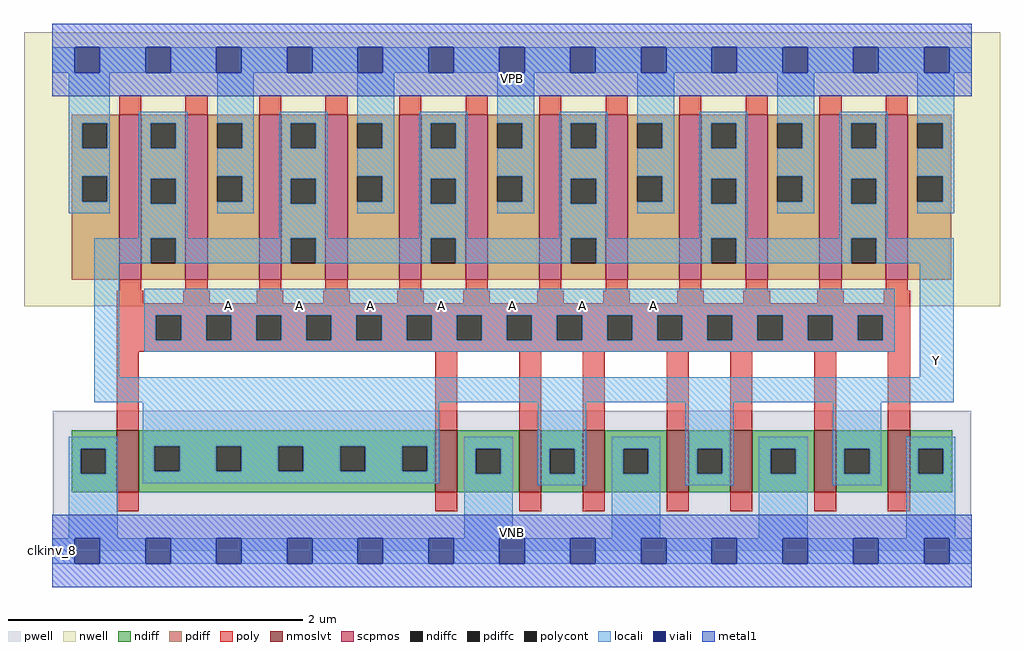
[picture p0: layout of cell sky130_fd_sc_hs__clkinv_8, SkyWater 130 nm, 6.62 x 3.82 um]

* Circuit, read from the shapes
.subckt sky130_fd_sc_hs__clkinv_8 A VGND VNB VPB VPWR Y
XM1 Y A VGND VNB sky130_fd_pr__nfet_01v8_lvt w=0.42 l=0.15 m=8
XM2 Y A VPWR VPB sky130_fd_pr__pfet_01v8 w=1.12 l=0.15 m=12
.ends

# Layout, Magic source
magic
tech sky130A
magscale 1 2
<< nwell >>
rect -38 332 1286 704
<< pwell >>
rect 1 49 1247 190
rect 0 0 1248 49
<< scpmos >>
rect 91 368 121 592
rect 181 368 211 592
rect 281 368 311 592
rect 371 368 401 592
rect 471 368 501 592
rect 561 368 591 592
rect 661 368 691 592
rect 751 368 781 592
rect 851 368 881 592
rect 941 368 971 592
rect 1041 368 1071 592
rect 1131 368 1161 592
<< nmoslvt >>
rect 88 80 118 164
rect 520 80 550 164
rect 634 80 664 164
rect 720 80 750 164
rect 834 80 864 164
rect 920 80 950 164
rect 1034 80 1064 164
rect 1134 80 1164 164
<< ndiff >>
rect 27 139 88 164
rect 27 105 39 139
rect 73 105 88 139
rect 27 80 88 105
rect 118 142 520 164
rect 118 108 139 142
rect 173 108 223 142
rect 257 108 307 142
rect 341 108 391 142
rect 425 108 475 142
rect 509 108 520 142
rect 118 80 520 108
rect 550 139 634 164
rect 550 105 575 139
rect 609 105 634 139
rect 550 80 634 105
rect 664 139 720 164
rect 664 105 675 139
rect 709 105 720 139
rect 664 80 720 105
rect 750 139 834 164
rect 750 105 775 139
rect 809 105 834 139
rect 750 80 834 105
rect 864 139 920 164
rect 864 105 875 139
rect 909 105 920 139
rect 864 80 920 105
rect 950 139 1034 164
rect 950 105 975 139
rect 1009 105 1034 139
rect 950 80 1034 105
rect 1064 139 1134 164
rect 1064 105 1075 139
rect 1109 105 1134 139
rect 1064 80 1134 105
rect 1164 139 1221 164
rect 1164 105 1175 139
rect 1209 105 1221 139
rect 1164 80 1221 105
<< pdiff >>
rect 27 580 91 592
rect 27 546 41 580
rect 75 546 91 580
rect 27 508 91 546
rect 27 474 41 508
rect 75 474 91 508
rect 27 368 91 474
rect 121 580 181 592
rect 121 546 134 580
rect 168 546 181 580
rect 121 505 181 546
rect 121 471 134 505
rect 168 471 181 505
rect 121 424 181 471
rect 121 390 134 424
rect 168 390 181 424
rect 121 368 181 390
rect 211 580 281 592
rect 211 546 224 580
rect 258 546 281 580
rect 211 508 281 546
rect 211 474 224 508
rect 258 474 281 508
rect 211 368 281 474
rect 311 580 371 592
rect 311 546 324 580
rect 358 546 371 580
rect 311 505 371 546
rect 311 471 324 505
rect 358 471 371 505
rect 311 424 371 471
rect 311 390 324 424
rect 358 390 371 424
rect 311 368 371 390
rect 401 580 471 592
rect 401 546 414 580
rect 448 546 471 580
rect 401 508 471 546
rect 401 474 414 508
rect 448 474 471 508
rect 401 368 471 474
rect 501 580 561 592
rect 501 546 514 580
rect 548 546 561 580
rect 501 505 561 546
rect 501 471 514 505
rect 548 471 561 505
rect 501 424 561 471
rect 501 390 514 424
rect 548 390 561 424
rect 501 368 561 390
rect 591 580 661 592
rect 591 546 604 580
rect 638 546 661 580
rect 591 508 661 546
rect 591 474 604 508
rect 638 474 661 508
rect 591 368 661 474
rect 691 580 751 592
rect 691 546 704 580
rect 738 546 751 580
rect 691 505 751 546
rect 691 471 704 505
rect 738 471 751 505
rect 691 424 751 471
rect 691 390 704 424
rect 738 390 751 424
rect 691 368 751 390
rect 781 580 851 592
rect 781 546 794 580
rect 828 546 851 580
rect 781 508 851 546
rect 781 474 794 508
rect 828 474 851 508
rect 781 368 851 474
rect 881 580 941 592
rect 881 546 894 580
rect 928 546 941 580
rect 881 505 941 546
rect 881 471 894 505
rect 928 471 941 505
rect 881 424 941 471
rect 881 390 894 424
rect 928 390 941 424
rect 881 368 941 390
rect 971 580 1041 592
rect 971 546 984 580
rect 1018 546 1041 580
rect 971 508 1041 546
rect 971 474 984 508
rect 1018 474 1041 508
rect 971 368 1041 474
rect 1071 580 1131 592
rect 1071 546 1084 580
rect 1118 546 1131 580
rect 1071 505 1131 546
rect 1071 471 1084 505
rect 1118 471 1131 505
rect 1071 424 1131 471
rect 1071 390 1084 424
rect 1118 390 1131 424
rect 1071 368 1131 390
rect 1161 580 1220 592
rect 1161 546 1174 580
rect 1208 546 1220 580
rect 1161 508 1220 546
rect 1161 474 1174 508
rect 1208 474 1220 508
rect 1161 368 1220 474
<< ndiffc >>
rect 39 105 73 139
rect 139 108 173 142
rect 223 108 257 142
rect 307 108 341 142
rect 391 108 425 142
rect 475 108 509 142
rect 575 105 609 139
rect 675 105 709 139
rect 775 105 809 139
rect 875 105 909 139
rect 975 105 1009 139
rect 1075 105 1109 139
rect 1175 105 1209 139
<< pdiffc >>
rect 41 546 75 580
rect 41 474 75 508
rect 134 546 168 580
rect 134 471 168 505
rect 134 390 168 424
rect 224 546 258 580
rect 224 474 258 508
rect 324 546 358 580
rect 324 471 358 505
rect 324 390 358 424
rect 414 546 448 580
rect 414 474 448 508
rect 514 546 548 580
rect 514 471 548 505
rect 514 390 548 424
rect 604 546 638 580
rect 604 474 638 508
rect 704 546 738 580
rect 704 471 738 505
rect 704 390 738 424
rect 794 546 828 580
rect 794 474 828 508
rect 894 546 928 580
rect 894 471 928 505
rect 894 390 928 424
rect 984 546 1018 580
rect 984 474 1018 508
rect 1084 546 1118 580
rect 1084 471 1118 505
rect 1084 390 1118 424
rect 1174 546 1208 580
rect 1174 474 1208 508
<< poly >>
rect 91 592 121 618
rect 181 592 211 618
rect 281 592 311 618
rect 371 592 401 618
rect 471 592 501 618
rect 561 592 591 618
rect 661 592 691 618
rect 751 592 781 618
rect 851 592 881 618
rect 941 592 971 618
rect 1041 592 1071 618
rect 1131 592 1161 618
rect 91 353 121 368
rect 181 353 211 368
rect 281 353 311 368
rect 371 353 401 368
rect 471 353 501 368
rect 561 353 591 368
rect 661 353 691 368
rect 751 353 781 368
rect 851 353 881 368
rect 941 353 971 368
rect 1041 353 1071 368
rect 1131 353 1161 368
rect 88 336 124 353
rect 178 336 214 353
rect 278 336 314 353
rect 368 336 404 353
rect 468 336 504 353
rect 558 336 594 353
rect 658 336 694 353
rect 748 336 784 353
rect 848 336 884 353
rect 938 336 974 353
rect 1038 336 1074 353
rect 1128 336 1164 353
rect 88 320 1164 336
rect 88 286 141 320
rect 175 286 209 320
rect 243 286 277 320
rect 311 286 345 320
rect 379 286 413 320
rect 447 286 481 320
rect 515 286 549 320
rect 583 286 617 320
rect 651 286 685 320
rect 719 286 753 320
rect 787 286 821 320
rect 855 286 889 320
rect 923 286 957 320
rect 991 286 1025 320
rect 1059 286 1093 320
rect 1127 286 1164 320
rect 88 270 1164 286
rect 88 164 118 270
rect 520 164 550 270
rect 634 164 664 270
rect 720 164 750 270
rect 834 164 864 270
rect 920 164 950 270
rect 1034 164 1064 270
rect 1134 164 1164 270
rect 88 54 118 80
rect 520 54 550 80
rect 634 54 664 80
rect 720 54 750 80
rect 834 54 864 80
rect 920 54 950 80
rect 1034 54 1064 80
rect 1134 54 1164 80
<< polycont >>
rect 141 286 175 320
rect 209 286 243 320
rect 277 286 311 320
rect 345 286 379 320
rect 413 286 447 320
rect 481 286 515 320
rect 549 286 583 320
rect 617 286 651 320
rect 685 286 719 320
rect 753 286 787 320
rect 821 286 855 320
rect 889 286 923 320
rect 957 286 991 320
rect 1025 286 1059 320
rect 1093 286 1127 320
<< locali >>
rect 0 649 31 683
rect 65 649 127 683
rect 161 649 223 683
rect 257 649 319 683
rect 353 649 415 683
rect 449 649 511 683
rect 545 649 607 683
rect 641 649 703 683
rect 737 649 799 683
rect 833 649 895 683
rect 929 649 991 683
rect 1025 649 1087 683
rect 1121 649 1183 683
rect 1217 649 1248 683
rect 23 580 78 649
rect 23 546 41 580
rect 75 546 78 580
rect 23 508 78 546
rect 23 474 41 508
rect 75 474 78 508
rect 23 458 78 474
rect 118 580 184 596
rect 118 546 134 580
rect 168 546 184 580
rect 118 505 184 546
rect 118 471 134 505
rect 168 471 184 505
rect 118 424 184 471
rect 224 580 274 649
rect 258 546 274 580
rect 224 508 274 546
rect 258 474 274 508
rect 224 458 274 474
rect 308 580 374 596
rect 308 546 324 580
rect 358 546 374 580
rect 308 505 374 546
rect 308 471 324 505
rect 358 471 374 505
rect 308 424 374 471
rect 414 580 464 649
rect 448 546 464 580
rect 414 508 464 546
rect 448 474 464 508
rect 414 458 464 474
rect 498 580 564 596
rect 498 546 514 580
rect 548 546 564 580
rect 498 505 564 546
rect 498 471 514 505
rect 548 471 564 505
rect 498 424 564 471
rect 604 580 654 649
rect 638 546 654 580
rect 604 508 654 546
rect 638 474 654 508
rect 604 458 654 474
rect 688 580 754 596
rect 688 546 704 580
rect 738 546 754 580
rect 688 505 754 546
rect 688 471 704 505
rect 738 471 754 505
rect 688 424 754 471
rect 794 580 844 649
rect 828 546 844 580
rect 794 508 844 546
rect 828 474 844 508
rect 794 458 844 474
rect 878 580 944 596
rect 878 546 894 580
rect 928 546 944 580
rect 878 505 944 546
rect 878 471 894 505
rect 928 471 944 505
rect 878 424 944 471
rect 984 580 1034 649
rect 1018 546 1034 580
rect 984 508 1034 546
rect 1018 474 1034 508
rect 984 458 1034 474
rect 1068 580 1134 596
rect 1068 546 1084 580
rect 1118 546 1134 580
rect 1068 505 1134 546
rect 1068 471 1084 505
rect 1118 471 1134 505
rect 1068 424 1134 471
rect 1174 580 1224 649
rect 1208 546 1224 580
rect 1174 508 1224 546
rect 1208 474 1224 508
rect 1174 458 1224 474
rect 57 390 134 424
rect 168 390 324 424
rect 358 390 514 424
rect 548 390 704 424
rect 738 390 894 424
rect 928 390 1084 424
rect 1118 390 1223 424
rect 57 236 91 390
rect 125 320 1143 356
rect 125 286 141 320
rect 175 286 209 320
rect 243 286 277 320
rect 311 286 345 320
rect 379 286 413 320
rect 447 286 481 320
rect 515 286 549 320
rect 583 286 617 320
rect 651 286 685 320
rect 719 286 753 320
rect 787 286 821 320
rect 855 286 889 320
rect 923 286 957 320
rect 991 286 1025 320
rect 1059 286 1093 320
rect 1127 286 1143 320
rect 125 270 1143 286
rect 1177 236 1223 390
rect 57 202 1223 236
rect 23 139 89 155
rect 23 105 39 139
rect 73 105 89 139
rect 23 17 89 105
rect 123 142 525 202
rect 123 108 139 142
rect 173 108 223 142
rect 257 108 307 142
rect 341 108 391 142
rect 425 108 475 142
rect 509 108 525 142
rect 123 92 525 108
rect 559 139 625 155
rect 559 105 575 139
rect 609 105 625 139
rect 559 17 625 105
rect 659 139 725 202
rect 659 105 675 139
rect 709 105 725 139
rect 659 89 725 105
rect 759 139 825 155
rect 759 105 775 139
rect 809 105 825 139
rect 759 17 825 105
rect 859 139 925 202
rect 859 105 875 139
rect 909 105 925 139
rect 859 89 925 105
rect 959 139 1025 155
rect 959 105 975 139
rect 1009 105 1025 139
rect 959 17 1025 105
rect 1059 139 1125 202
rect 1059 105 1075 139
rect 1109 105 1125 139
rect 1059 89 1125 105
rect 1159 139 1225 155
rect 1159 105 1175 139
rect 1209 105 1225 139
rect 1159 17 1225 105
rect 0 -17 31 17
rect 65 -17 127 17
rect 161 -17 223 17
rect 257 -17 319 17
rect 353 -17 415 17
rect 449 -17 511 17
rect 545 -17 607 17
rect 641 -17 703 17
rect 737 -17 799 17
rect 833 -17 895 17
rect 929 -17 991 17
rect 1025 -17 1087 17
rect 1121 -17 1183 17
rect 1217 -17 1248 17
<< viali >>
rect 31 649 65 683
rect 127 649 161 683
rect 223 649 257 683
rect 319 649 353 683
rect 415 649 449 683
rect 511 649 545 683
rect 607 649 641 683
rect 703 649 737 683
rect 799 649 833 683
rect 895 649 929 683
rect 991 649 1025 683
rect 1087 649 1121 683
rect 1183 649 1217 683
rect 31 -17 65 17
rect 127 -17 161 17
rect 223 -17 257 17
rect 319 -17 353 17
rect 415 -17 449 17
rect 511 -17 545 17
rect 607 -17 641 17
rect 703 -17 737 17
rect 799 -17 833 17
rect 895 -17 929 17
rect 991 -17 1025 17
rect 1087 -17 1121 17
rect 1183 -17 1217 17
<< metal1 >>
rect 0 683 1248 715
rect 0 649 31 683
rect 65 649 127 683
rect 161 649 223 683
rect 257 649 319 683
rect 353 649 415 683
rect 449 649 511 683
rect 545 649 607 683
rect 641 649 703 683
rect 737 649 799 683
rect 833 649 895 683
rect 929 649 991 683
rect 1025 649 1087 683
rect 1121 649 1183 683
rect 1217 649 1248 683
rect 0 617 1248 649
rect 0 17 1248 49
rect 0 -17 31 17
rect 65 -17 127 17
rect 161 -17 223 17
rect 257 -17 319 17
rect 353 -17 415 17
rect 449 -17 511 17
rect 545 -17 607 17
rect 641 -17 703 17
rect 737 -17 799 17
rect 833 -17 895 17
rect 929 -17 991 17
rect 1025 -17 1087 17
rect 1121 -17 1183 17
rect 1217 -17 1248 17
rect 0 -49 1248 -17
<< labels >>
rlabel comment s 0 0 0 0 4 clkinv_8
flabel pwell s 0 0 1248 49 0 FreeSans 200 0 0 0 VNB
port 3 nsew ground bidirectional
flabel nwell s 0 617 1248 666 0 FreeSans 200 0 0 0 VPB
port 4 nsew power bidirectional
flabel metal1 s 0 617 1248 666 0 FreeSans 340 0 0 0 VPWR
port 5 nsew power bidirectional
flabel metal1 s 0 0 1248 49 0 FreeSans 340 0 0 0 VGND
port 2 nsew ground bidirectional
flabel locali s 223 316 257 350 0 FreeSans 340 0 0 0 A
port 1 nsew signal input
flabel locali s 319 316 353 350 0 FreeSans 340 0 0 0 A
port 1 nsew signal input
flabel locali s 415 316 449 350 0 FreeSans 340 0 0 0 A
port 1 nsew signal input
flabel locali s 511 316 545 350 0 FreeSans 340 0 0 0 A
port 1 nsew signal input
flabel locali s 607 316 641 350 0 FreeSans 340 0 0 0 A
port 1 nsew signal input
flabel locali s 703 316 737 350 0 FreeSans 340 0 0 0 A
port 1 nsew signal input
flabel locali s 799 316 833 350 0 FreeSans 340 0 0 0 A
port 1 nsew signal input
flabel locali s 1183 242 1217 276 0 FreeSans 340 0 0 0 Y
port 6 nsew signal output
<< properties >>
string LEFsite unit
string LEFclass CORE
string FIXED_BBOX 0 0 1248 666
string GDS_FILE $PDKPATH/libs.ref/sky130_fd_sc_hs/gds/sky130_fd_sc_hs.gds
string LEFsymmetry X Y
string GDS_END 2763800
string GDS_START 2753930
<< end >>
